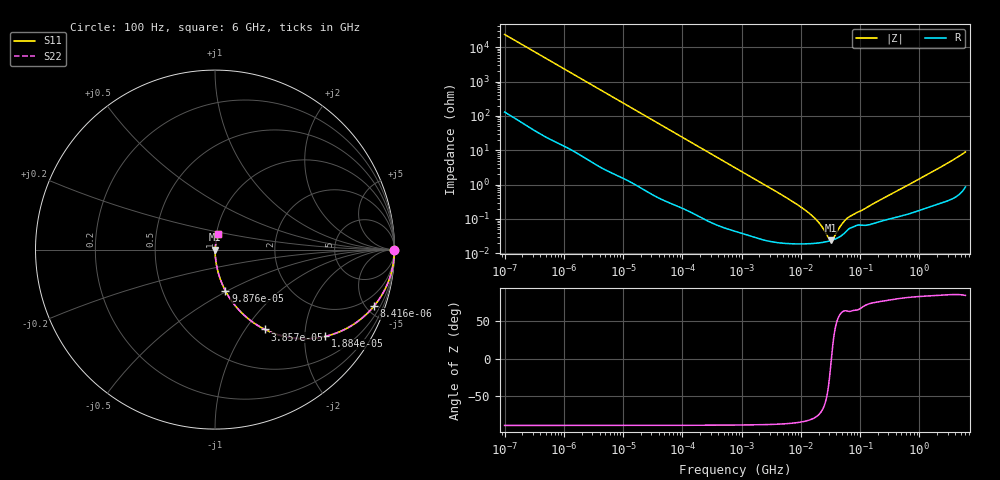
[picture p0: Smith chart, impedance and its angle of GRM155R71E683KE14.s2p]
!Murata Part Number: GRM155R71E683KE14
!These Parameters are Measured in Series Mode Connection
!Data Generated on Mar 30, 2021
!  o--ll--o
!Port1  Port2
!  o------o
!Operation Temp=25[degC], DC Bias Voltage=0[V]
!Freq. Start=100[Hz] Stop=6[GHz] 401[Steps]
# Hz S RI R 50
!Freq.(Hz) S11(Real) S11(Imag) S21(Real) S21(Imag) S12(Real) S12(Imag) S22(Real) S22(Imag)
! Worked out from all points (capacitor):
!   401 points, 100 Hz to 6 GHz, reference 50 ohm
!   read as one part in series: C = 67.9 nF near 109 Hz
!   lowest |Z| = 23.9 mohm at 31.85 MHz (marker M1)
!   series resonance near 32.85 MHz, so ESL is about 350 pH
!   S11 on the Smith chart (normalised r, x): 100 Hz: open; 8.416 kHz: 1.04, -5.65; 18.84 kHz: 1.02, -2.53; 38.57 kHz: 1.01, -1.24; 98.76 kHz: 1.00, -0.49; 6 GHz: 1.02, +0.18
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100  1 -0.00427  4.18e-05 0.00427  4.18e-05 0.00427  1 -0.00427
2008  0.9924 -0.0842  0.00764 0.0842  0.00764 0.0842  0.9924 -0.0842
4702  0.9612 -0.1904  0.0388 0.1904  0.0388 0.1904  0.9612 -0.1904
8416  0.887 -0.3135  0.113 0.3135  0.113 0.3135  0.887 -0.3135
18841  0.6149 -0.4833  0.3851 0.4833  0.3851 0.4833  0.6149 -0.4833
26957  0.4401 -0.4931  0.5599 0.4931  0.5599 0.4931  0.4401 -0.4931
38569  0.2789 -0.4451  0.7211 0.4451  0.7211 0.4451  0.2789 -0.4451
40335  0.2615 -0.436  0.7385 0.436  0.7385 0.436  0.2615 -0.436
60352  0.1379 -0.3411  0.8621 0.3411  0.8621 0.3411  0.1379 -0.3411
98762  0.0575 -0.2286  0.9425 0.2286  0.9425 0.2286  0.0575 -0.2286
241822  0.0108 -0.0986  0.9892 0.0986  0.9892 0.0986  0.0108 -0.0986
774597  0.00142 -0.0313  0.9986 0.0313  0.9986 0.0313  0.00142 -0.0313
6353432  0.000205 -0.00371  0.9998 0.00371  0.9998 0.00371  0.000205 -0.00371
1.555665e7  0.000194 -0.00122  0.9998 0.00122  0.9998 0.00122  0.000194 -0.00122
2.128304e7  0.000204 -0.000668  0.9998 0.000668  0.9998 0.000668  0.000204 -0.000668
2.911731e7  0.000225 -0.00018  0.9998 0.00018  0.9998 0.00018  0.000225 -0.00018
3.184506e7  0.000234 -4.62e-05  0.9998 4.62e-05  0.9998 4.62e-05  0.000234 -4.62e-05
3.482834e7  0.000246 8.78e-05  0.9998 -8.78e-05  0.9998 -8.78e-05  0.000246 8.78e-05
4.764863e7  0.00032 0.000571  0.9997 -0.000571  0.9997 -0.000571  0.00032 0.000571
6.233367e7  0.00049 0.000974  0.9995 -0.000974  0.9995 -0.000974  0.00049 0.000974
3.124326e8  0.00102 0.00484  0.999 -0.00484  0.999 -0.00484  0.00102 0.00484
6e9  0.0162 0.0869  0.9838 -0.0869  0.9838 -0.0869  0.0162 0.0869
